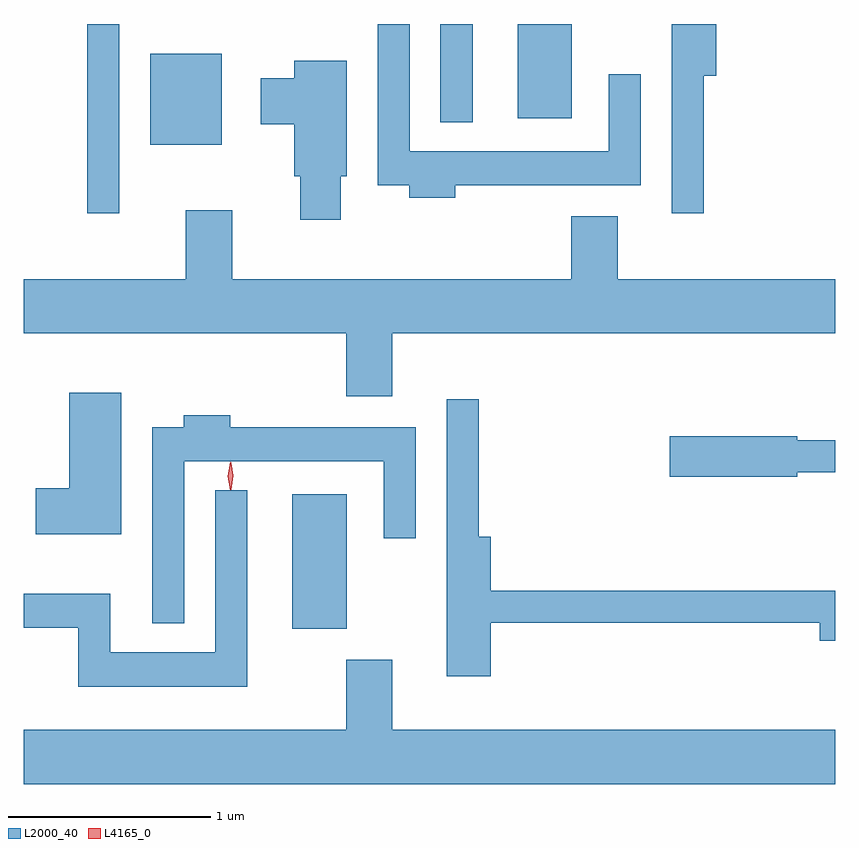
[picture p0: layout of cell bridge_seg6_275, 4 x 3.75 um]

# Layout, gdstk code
import gdstk
lib = gdstk.Library(unit=1e-6, precision=1e-09)
def R(c, l, rs):  # rectangles x0, y0, x1, y1
    for r in rs: c.add(gdstk.rectangle(r[:2], r[2:], *l))
def P(c, l, *ps):  # polygons
    for p in ps: c.add(gdstk.Polygon(p, *l))
L2000_40 = (2000, 40)
L4165_0 = (4165, 0)

bridge_seg6_275 = lib.new_cell('bridge_seg6_275')
R(bridge_seg6_275, L2000_40, [(1305.276,1555.241,1305.544,1555.904), (1304.266,1557.288,1304.424,1558.221), (1304.576,1557.626,1304.929,1558.074), (1306.006,1557.738,1306.164,1558.221), (1306.386,1557.756,1306.654,1558.221)])
P(bridge_seg6_275, L2000_40, [(1306.079,1557.426),(1306.994,1557.426),(1306.994,1557.973),(1306.836,1557.973),(1306.836,1557.594),(1305.854,1557.594),(1305.854,1558.221),(1305.696,1558.221),(1305.696,1557.426),(1305.851,1557.426),(1305.851,1557.366),(1306.079,1557.366)],
  [(1307.304,1557.966),(1307.364,1557.966),(1307.364,1558.221),(1307.146,1558.221),(1307.146,1557.288),(1307.304,1557.288)],
  [(1305.514,1557.471),(1305.544,1557.471),(1305.544,1558.039),(1305.286,1558.039),(1305.286,1557.954),(1305.121,1557.954),(1305.121,1557.726),(1305.286,1557.726),(1305.286,1557.471),(1305.316,1557.471),(1305.316,1557.256),(1305.514,1557.256)],
  [(1305.769,1556.696),(1307.952,1556.696),(1307.952,1556.964),(1306.879,1556.964),(1306.879,1557.274),(1306.651,1557.274),(1306.651,1556.964),(1304.979,1556.964),(1304.979,1557.304),(1304.751,1557.304),(1304.751,1556.964),(1303.952,1556.964),(1303.952,1556.696),(1305.541,1556.696),(1305.541,1556.386),(1305.769,1556.386)],
  [(1304.434,1556.404),(1304.176,1556.404),(1304.176,1555.934),(1304.011,1555.934),(1304.011,1555.706),(1304.434,1555.706)],
  [(1306.254,1555.271),(1307.876,1555.271),(1307.876,1555.181),(1307.952,1555.181),(1307.952,1555.429),(1306.254,1555.429),(1306.254,1555.694),(1306.194,1555.694),(1306.194,1556.373),(1306.036,1556.373),(1306.036,1555.006),(1306.254,1555.006)],
  [(1304.744,1556.066),(1305.726,1556.066),(1305.726,1555.688),(1305.884,1555.688),(1305.884,1556.234),(1304.969,1556.234),(1304.969,1556.294),(1304.741,1556.294),(1304.741,1556.234),(1304.586,1556.234),(1304.586,1555.268),(1304.744,1555.268)],
  [(1307.764,1556.011),(1307.952,1556.011),(1307.952,1556.169),(1307.764,1556.169),(1307.764,1556.189),(1307.136,1556.189),(1307.136,1555.991),(1307.764,1555.991)],
  [(1305.054,1555.923),(1304.896,1555.923),(1304.896,1555.124),(1304.379,1555.124),(1304.379,1555.414),(1303.952,1555.414),(1303.952,1555.246),(1304.221,1555.246),(1304.221,1554.956),(1305.054,1554.956)],
  [(1307.952,1554.744),(1305.769,1554.744),(1305.769,1555.089),(1305.541,1555.089),(1305.541,1554.744),(1303.952,1554.744),(1303.952,1554.476),(1307.952,1554.476)])
P(bridge_seg6_275, L4165_0, [(1304.973,1555.927),(1304.964,1555.994),(1304.973,1556.06),(1304.974,1556.061),(1304.974,1556.06),(1304.984,1555.994),(1304.974,1555.927),(1304.974,1555.927)],
  [(1304.969,1555.924),(1304.959,1555.993),(1304.969,1556.062),(1304.969,1556.063),(1304.97,1556.062),(1304.979,1555.993),(1304.97,1555.924),(1304.97,1555.924)])

lib.write_gds('bridge_seg6_275.gds')
